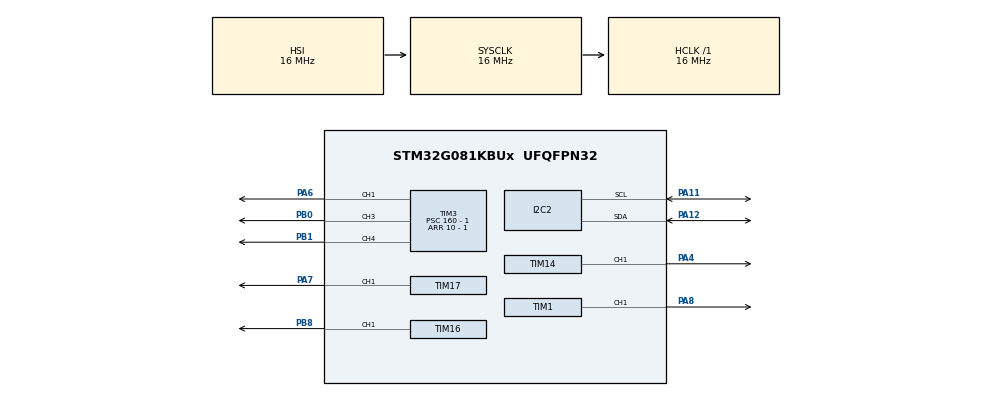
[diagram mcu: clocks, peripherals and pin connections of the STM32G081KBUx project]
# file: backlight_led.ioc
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Mcu.Family=STM32G0
Mcu.Name=STM32G081KBUx
Mcu.Package=UFQFPN32
NVIC.I2C2_IRQn=true\:0\:0\:false\:false\:true\:true\:true\:true
NVIC.TIM14_IRQn=true\:0\:0\:false\:false\:true\:true\:true\:true
NVIC.TIM16_IRQn=true\:0\:0\:false\:false\:true\:true\:true\:true
NVIC.TIM17_IRQn=true\:0\:0\:false\:false\:true\:true\:true\:true
NVIC.TIM1_BRK_UP_TRG_COM_IRQn=true\:0\:0\:false\:false\:true\:true\:true\:true
NVIC.TIM1_CC_IRQn=true\:0\:0\:false\:false\:true\:true\:true\:true
NVIC.TIM3_IRQn=true\:0\:0\:false\:false\:true\:true\:true\:true
PA11\ [PA9].Mode=I2C
PA11\ [PA9].Signal=I2C2_SCL
PA12\ [PA10].Mode=I2C
PA12\ [PA10].Signal=I2C2_SDA
PA4.Signal=S_TIM14_CH1
PA6.Signal=S_TIM3_CH1
PA7.Signal=S_TIM17_CH1
PA8.Signal=S_TIM1_CH1
PB0.Signal=S_TIM3_CH3
PB1.Signal=S_TIM3_CH4
PB8.Signal=S_TIM16_CH1
ProjectManager.HeapSize=0x200
ProjectManager.StackSize=0x400
ProjectManager.TargetToolchain=STM32CubeIDE
RCC.AHBFreq_Value=16000000
RCC.CortexFreq_Value=16000000
RCC.EXTERNAL_CLOCK_VALUE=48000
RCC.HCLKFreq_Value=16000000
RCC.HSE_VALUE=8000000
RCC.HSI_VALUE=16000000
RCC.LSE_VALUE=32768
RCC.SYSCLKFreq_VALUE=16000000
RCC.VCOOutputFreq_Value=128000000
SH.S_TIM14_CH1.0=TIM14_CH1,PWM Generation1 CH1
SH.S_TIM16_CH1.0=TIM16_CH1,PWM Generation1 CH1
SH.S_TIM17_CH1.0=TIM17_CH1,PWM Generation1 CH1
SH.S_TIM1_CH1.0=TIM1_CH1,PWM Generation1 CH1
SH.S_TIM3_CH1.0=TIM3_CH1,PWM Generation1 CH1
SH.S_TIM3_CH3.0=TIM3_CH3,PWM Generation3 CH3
SH.S_TIM3_CH4.0=TIM3_CH4,PWM Generation4 CH4
TIM1.Channel-PWM\ Generation1\ CH1=TIM_CHANNEL_1
TIM1.Period=10 -1
TIM1.Prescaler=160 - 1
TIM1.Pulse-PWM\ Generation1\ CH1=6
TIM14.Channel=TIM_CHANNEL_1
TIM14.Period=10 - 1
TIM14.Prescaler=160 - 1
TIM14.Pulse=5
TIM16.Channel=TIM_CHANNEL_1
TIM16.Period=10 - 1
TIM16.Prescaler=160 - 1
TIM16.Pulse=4
TIM17.Channel=TIM_CHANNEL_1
TIM17.Period=10 - 1
TIM17.Prescaler=160 - 1
TIM17.Pulse=3
TIM3.Channel-PWM\ Generation1\ CH1=TIM_CHANNEL_1
TIM3.Channel-PWM\ Generation3\ CH3=TIM_CHANNEL_3
TIM3.Channel-PWM\ Generation4\ CH4=TIM_CHANNEL_4
TIM3.Period=10 - 1
TIM3.Prescaler=160 - 1
TIM3.Pulse-PWM\ Generation1\ CH1=2
TIM3.Pulse-PWM\ Generation3\ CH3=8
TIM3.Pulse-PWM\ Generation4\ CH4=9
VP_TIM14_VS_ClockSourceINT.Mode=Enable_Timer
VP_TIM16_VS_ClockSourceINT.Mode=Enable_Timer
VP_TIM17_VS_ClockSourceINT.Mode=Enable_Timer
VP_TIM3_VS_ClockSourceINT.Mode=Internal
board=custom

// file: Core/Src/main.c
/* USER CODE BEGIN Header */
/**
  ******************************************************************************
  * @file           : main.c
  * @brief          : Main program body
  ******************************************************************************
  * @attention
  *
  * Copyright (c) 2023 STMicroelectronics.
  * All rights reserved.
  *
  * This software is licensed under terms that can be found in the LICENSE file
  * in the root directory of this software component.
  * If no LICENSE file comes with this software, it is provided AS-IS.
  *
  ******************************************************************************
  */
/* USER CODE END Header */
#include "main.h"

I2C_HandleTypeDef hi2c2;

TIM_HandleTypeDef htim1;
TIM_HandleTypeDef htim3;
TIM_HandleTypeDef htim14;
TIM_HandleTypeDef htim16;
TIM_HandleTypeDef htim17;

/* USER CODE BEGIN PV */
uint8_t rxData;
uint8_t lower;
uint8_t upper;
uint8_t lower_0;
uint8_t upper_0;

uint8_t ID = 0x87; // register addr
uint8_t ID4 = 0x85; // register addr
uint8_t reg = 0x80;
uint8_t reg2 = 0x85;
uint8_t status_reg;
uint8_t command1 = 0x01;
uint8_t command2 = 0x12;
uint16_t data_0;
uint16_t data_1;

#define U4_ADDRESS 0x41 // INA3221
#define U2_ADDRESS 0x44 // INA219BID
#define U1_ADDRESS 0x40 // INA3221
#define U3_ADDRESS 0x45 // ISL28022
#define ADDRESS 0x29 // LTR

/* USER CODE END PV */

void SystemClock_Config(void);
static void MX_GPIO_Init(void);
static void MX_TIM1_Init(void);
static void MX_TIM3_Init(void);
static void MX_TIM14_Init(void);
static void MX_TIM16_Init(void);
static void MX_TIM17_Init(void);
static void MX_I2C2_Init(void);

/* USER CODE BEGIN 0 */
void ltr_read()
{
	//Configuring operation modes
	HAL_I2C_Mem_Write(&hi2c2, ADDRESS << 1, reg, 1, &command1, 1, HAL_MAX_DELAY);
	HAL_I2C_Mem_Write(&hi2c2, ADDRESS << 1, reg2, 1, &command2, 1, HAL_MAX_DELAY);

	//CH1
	HAL_I2C_Mem_Read(&hi2c2, ADDRESS << 1, 0x88, 1, &lower, 1, HAL_MAX_DELAY);
	HAL_I2C_Mem_Read(&hi2c2, ADDRESS << 1, 0x89, 1, &upper, 1, HAL_MAX_DELAY);

	data_1 = (upper << 8) | lower;

	//CH0
	HAL_I2C_Mem_Read(&hi2c2, ADDRESS << 1, 0x8A, 1, &lower_0, 1, HAL_MAX_DELAY);
	HAL_I2C_Mem_Read(&hi2c2, ADDRESS << 1, 0x8B, 1, &upper_0, 1, HAL_MAX_DELAY);

	data_0 = (upper_0 << 8) | lower_0;

	// Reading status
	HAL_I2C_Mem_Read(&hi2c2, ADDRESS << 1, 0x8C, 1, &status_reg, 1, HAL_MAX_DELAY);

}

/* USER CODE END 0 */

int main(void)
{

  /* MCU Configuration--------------------------------------------------------*/

  /* Reset of all peripherals, Initializes the Flash interface and the Systick. */
  HAL_Init();

  /* Configure the system clock */
  SystemClock_Config();

  /* Initialize all configured peripherals */
  MX_GPIO_Init();
  MX_TIM1_Init();
  MX_TIM3_Init();
  MX_TIM14_Init();
  MX_TIM16_Init();
  MX_TIM17_Init();
  MX_I2C2_Init();

  /* Infinite loop */
  /* USER CODE BEGIN WHILE */
  while (1)
  {
	  	  // LTR Reading Register
		//  HAL_I2C_Master_Transmit(&hi2c2, ADDRESS << 1, &ID4, 1, HAL_MAX_DELAY);
		 // HAL_I2C_Master_Receive(&hi2c2, ADDRESS << 1, &rxData, 1, HAL_MAX_DELAY);

		  ltr_read();

    /* USER CODE END WHILE */

  }
}

void SystemClock_Config(void)
{
  RCC_OscInitTypeDef RCC_OscInitStruct = {0};
  RCC_ClkInitTypeDef RCC_ClkInitStruct = {0};

  /** Configure the main internal regulator output voltage
  */
  HAL_PWREx_ControlVoltageScaling(PWR_REGULATOR_VOLTAGE_SCALE1);

  /** Initializes the RCC Oscillators according to the specified parameters
  * in the RCC_OscInitTypeDef structure.
  */
  RCC_OscInitStruct.OscillatorType = RCC_OSCILLATORTYPE_HSI;
  RCC_OscInitStruct.HSIState = RCC_HSI_ON;
  RCC_OscInitStruct.HSIDiv = RCC_HSI_DIV1;
  RCC_OscInitStruct.HSICalibrationValue = RCC_HSICALIBRATION_DEFAULT;
  RCC_OscInitStruct.PLL.PLLState = RCC_PLL_NONE;
  if (HAL_RCC_OscConfig(&RCC_OscInitStruct) != HAL_OK)
  {
    Error_Handler();
  }

  /** Initializes the CPU, AHB and APB buses clocks
  */
  RCC_ClkInitStruct.ClockType = RCC_CLOCKTYPE_HCLK|RCC_CLOCKTYPE_SYSCLK
                              |RCC_CLOCKTYPE_PCLK1;
  RCC_ClkInitStruct.SYSCLKSource = RCC_SYSCLKSOURCE_HSI;
  RCC_ClkInitStruct.AHBCLKDivider = RCC_SYSCLK_DIV1;
  RCC_ClkInitStruct.APB1CLKDivider = RCC_HCLK_DIV1;

  if (HAL_RCC_ClockConfig(&RCC_ClkInitStruct, FLASH_LATENCY_0) != HAL_OK)
  {
    Error_Handler();
  }
}

static void MX_I2C2_Init(void)
{

  hi2c2.Instance = I2C2;
  hi2c2.Init.Timing = 0x00303D5B;
  hi2c2.Init.OwnAddress1 = 0;
  hi2c2.Init.AddressingMode = I2C_ADDRESSINGMODE_7BIT;
  hi2c2.Init.DualAddressMode = I2C_DUALADDRESS_DISABLE;
  hi2c2.Init.OwnAddress2 = 0;
  hi2c2.Init.OwnAddress2Masks = I2C_OA2_NOMASK;
  hi2c2.Init.GeneralCallMode = I2C_GENERALCALL_DISABLE;
  hi2c2.Init.NoStretchMode = I2C_NOSTRETCH_DISABLE;
  if (HAL_I2C_Init(&hi2c2) != HAL_OK)
  {
    Error_Handler();
  }

  /** Configure Analogue filter
  */
  if (HAL_I2CEx_ConfigAnalogFilter(&hi2c2, I2C_ANALOGFILTER_ENABLE) != HAL_OK)
  {
    Error_Handler();
  }

  /** Configure Digital filter
  */
  if (HAL_I2CEx_ConfigDigitalFilter(&hi2c2, 0) != HAL_OK)
  {
    Error_Handler();
  }

}

static void MX_TIM1_Init(void)
{

  TIM_MasterConfigTypeDef sMasterConfig = {0};
  TIM_OC_InitTypeDef sConfigOC = {0};
  TIM_BreakDeadTimeConfigTypeDef sBreakDeadTimeConfig = {0};

  htim1.Instance = TIM1;
  htim1.Init.Prescaler = 160 - 1;
  htim1.Init.CounterMode = TIM_COUNTERMODE_UP;
  htim1.Init.Period = 10 -1;
  htim1.Init.ClockDivision = TIM_CLOCKDIVISION_DIV1;
  htim1.Init.RepetitionCounter = 0;
  htim1.Init.AutoReloadPreload = TIM_AUTORELOAD_PRELOAD_DISABLE;
  if (HAL_TIM_PWM_Init(&htim1) != HAL_OK)
  {
    Error_Handler();
  }
  sMasterConfig.MasterOutputTrigger = TIM_TRGO_RESET;
  sMasterConfig.MasterOutputTrigger2 = TIM_TRGO2_RESET;
  sMasterConfig.MasterSlaveMode = TIM_MASTERSLAVEMODE_DISABLE;
  if (HAL_TIMEx_MasterConfigSynchronization(&htim1, &sMasterConfig) != HAL_OK)
  {
    Error_Handler();
  }
  sConfigOC.OCMode = TIM_OCMODE_PWM1;
  sConfigOC.Pulse = 6;
  sConfigOC.OCPolarity = TIM_OCPOLARITY_HIGH;
  sConfigOC.OCNPolarity = TIM_OCNPOLARITY_HIGH;
  sConfigOC.OCFastMode = TIM_OCFAST_DISABLE;
  sConfigOC.OCIdleState = TIM_OCIDLESTATE_RESET;
  sConfigOC.OCNIdleState = TIM_OCNIDLESTATE_RESET;
  if (HAL_TIM_PWM_ConfigChannel(&htim1, &sConfigOC, TIM_CHANNEL_1) != HAL_OK)
  {
    Error_Handler();
  }
  sBreakDeadTimeConfig.OffStateRunMode = TIM_OSSR_DISABLE;
  sBreakDeadTimeConfig.OffStateIDLEMode = TIM_OSSI_DISABLE;
  sBreakDeadTimeConfig.LockLevel = TIM_LOCKLEVEL_OFF;
  sBreakDeadTimeConfig.DeadTime = 0;
  sBreakDeadTimeConfig.BreakState = TIM_BREAK_DISABLE;
  sBreakDeadTimeConfig.BreakPolarity = TIM_BREAKPOLARITY_HIGH;
  sBreakDeadTimeConfig.BreakFilter = 0;
  sBreakDeadTimeConfig.BreakAFMode = TIM_BREAK_AFMODE_INPUT;
  sBreakDeadTimeConfig.Break2State = TIM_BREAK2_DISABLE;
  sBreakDeadTimeConfig.Break2Polarity = TIM_BREAK2POLARITY_HIGH;
  sBreakDeadTimeConfig.Break2Filter = 0;
  sBreakDeadTimeConfig.Break2AFMode = TIM_BREAK_AFMODE_INPUT;
  sBreakDeadTimeConfig.AutomaticOutput = TIM_AUTOMATICOUTPUT_DISABLE;
  if (HAL_TIMEx_ConfigBreakDeadTime(&htim1, &sBreakDeadTimeConfig) != HAL_OK)
  {
    Error_Handler();
  }
  HAL_TIM_MspPostInit(&htim1);

}

static void MX_TIM3_Init(void)
{

  TIM_ClockConfigTypeDef sClockSourceConfig = {0};
  TIM_MasterConfigTypeDef sMasterConfig = {0};
  TIM_OC_InitTypeDef sConfigOC = {0};

  htim3.Instance = TIM3;
  htim3.Init.Prescaler = 160 - 1;
  htim3.Init.CounterMode = TIM_COUNTERMODE_UP;
  htim3.Init.Period = 10 - 1;
  htim3.Init.ClockDivision = TIM_CLOCKDIVISION_DIV1;
  htim3.Init.AutoReloadPreload = TIM_AUTORELOAD_PRELOAD_DISABLE;
  if (HAL_TIM_Base_Init(&htim3) != HAL_OK)
  {
    Error_Handler();
  }
  sClockSourceConfig.ClockSource = TIM_CLOCKSOURCE_INTERNAL;
  if (HAL_TIM_ConfigClockSource(&htim3, &sClockSourceConfig) != HAL_OK)
  {
    Error_Handler();
  }
  if (HAL_TIM_PWM_Init(&htim3) != HAL_OK)
  {
    Error_Handler();
  }
  sMasterConfig.MasterOutputTrigger = TIM_TRGO_RESET;
  sMasterConfig.MasterSlaveMode = TIM_MASTERSLAVEMODE_DISABLE;
  if (HAL_TIMEx_MasterConfigSynchronization(&htim3, &sMasterConfig) != HAL_OK)
  {
    Error_Handler();
  }
  sConfigOC.OCMode = TIM_OCMODE_PWM1;
  sConfigOC.Pulse = 2;
  sConfigOC.OCPolarity = TIM_OCPOLARITY_HIGH;
  sConfigOC.OCFastMode = TIM_OCFAST_DISABLE;
  if (HAL_TIM_PWM_ConfigChannel(&htim3, &sConfigOC, TIM_CHANNEL_1) != HAL_OK)
  {
    Error_Handler();
  }
  sConfigOC.Pulse = 8;
  if (HAL_TIM_PWM_ConfigChannel(&htim3, &sConfigOC, TIM_CHANNEL_3) != HAL_OK)
  {
    Error_Handler();
  }
  sConfigOC.Pulse = 9;
  if (HAL_TIM_PWM_ConfigChannel(&htim3, &sConfigOC, TIM_CHANNEL_4) != HAL_OK)
  {
    Error_Handler();
  }
  HAL_TIM_MspPostInit(&htim3);

}

static void MX_TIM14_Init(void)
{

  TIM_OC_InitTypeDef sConfigOC = {0};

  htim14.Instance = TIM14;
  htim14.Init.Prescaler = 160 - 1;
  htim14.Init.CounterMode = TIM_COUNTERMODE_UP;
  htim14.Init.Period = 10 - 1;
  htim14.Init.ClockDivision = TIM_CLOCKDIVISION_DIV1;
  htim14.Init.AutoReloadPreload = TIM_AUTORELOAD_PRELOAD_DISABLE;
  if (HAL_TIM_Base_Init(&htim14) != HAL_OK)
  {
    Error_Handler();
  }
  if (HAL_TIM_PWM_Init(&htim14) != HAL_OK)
  {
    Error_Handler();
  }
  sConfigOC.OCMode = TIM_OCMODE_PWM1;
  sConfigOC.Pulse = 5;
  sConfigOC.OCPolarity = TIM_OCPOLARITY_HIGH;
  sConfigOC.OCFastMode = TIM_OCFAST_DISABLE;
  if (HAL_TIM_PWM_ConfigChannel(&htim14, &sConfigOC, TIM_CHANNEL_1) != HAL_OK)
  {
    Error_Handler();
  }
  HAL_TIM_MspPostInit(&htim14);

}

static void MX_TIM16_Init(void)
{

  TIM_OC_InitTypeDef sConfigOC = {0};
  TIM_BreakDeadTimeConfigTypeDef sBreakDeadTimeConfig = {0};

  htim16.Instance = TIM16;
  htim16.Init.Prescaler = 160 - 1;
  htim16.Init.CounterMode = TIM_COUNTERMODE_UP;
  htim16.Init.Period = 10 - 1;
  htim16.Init.ClockDivision = TIM_CLOCKDIVISION_DIV1;
  htim16.Init.RepetitionCounter = 0;
  htim16.Init.AutoReloadPreload = TIM_AUTORELOAD_PRELOAD_DISABLE;
  if (HAL_TIM_Base_Init(&htim16) != HAL_OK)
  {
    Error_Handler();
  }
  if (HAL_TIM_PWM_Init(&htim16) != HAL_OK)
  {
    Error_Handler();
  }
  sConfigOC.OCMode = TIM_OCMODE_PWM1;
  sConfigOC.Pulse = 4;
  sConfigOC.OCPolarity = TIM_OCPOLARITY_HIGH;
  sConfigOC.OCNPolarity = TIM_OCNPOLARITY_HIGH;
  sConfigOC.OCFastMode = TIM_OCFAST_DISABLE;
  sConfigOC.OCIdleState = TIM_OCIDLESTATE_RESET;
  sConfigOC.OCNIdleState = TIM_OCNIDLESTATE_RESET;
  if (HAL_TIM_PWM_ConfigChannel(&htim16, &sConfigOC, TIM_CHANNEL_1) != HAL_OK)
  {
    Error_Handler();
  }
  sBreakDeadTimeConfig.OffStateRunMode = TIM_OSSR_DISABLE;
  sBreakDeadTimeConfig.OffStateIDLEMode = TIM_OSSI_DISABLE;
  sBreakDeadTimeConfig.LockLevel = TIM_LOCKLEVEL_OFF;
  sBreakDeadTimeConfig.DeadTime = 0;
  sBreakDeadTimeConfig.BreakState = TIM_BREAK_DISABLE;
  sBreakDeadTimeConfig.BreakPolarity = TIM_BREAKPOLARITY_HIGH;
  sBreakDeadTimeConfig.BreakFilter = 0;
  sBreakDeadTimeConfig.AutomaticOutput = TIM_AUTOMATICOUTPUT_DISABLE;
  if (HAL_TIMEx_ConfigBreakDeadTime(&htim16, &sBreakDeadTimeConfig) != HAL_OK)
  {
    Error_Handler();
  }
  HAL_TIM_MspPostInit(&htim16);

}

static void MX_TIM17_Init(void)
{

  TIM_OC_InitTypeDef sConfigOC = {0};
  TIM_BreakDeadTimeConfigTypeDef sBreakDeadTimeConfig = {0};

  htim17.Instance = TIM17;
  htim17.Init.Prescaler = 160 - 1;
  htim17.Init.CounterMode = TIM_COUNTERMODE_UP;
  htim17.Init.Period = 10 - 1;
  htim17.Init.ClockDivision = TIM_CLOCKDIVISION_DIV1;
  htim17.Init.RepetitionCounter = 0;
  htim17.Init.AutoReloadPreload = TIM_AUTORELOAD_PRELOAD_DISABLE;
  if (HAL_TIM_Base_Init(&htim17) != HAL_OK)
  {
    Error_Handler();
  }
  if (HAL_TIM_PWM_Init(&htim17) != HAL_OK)
  {
    Error_Handler();
  }
  sConfigOC.OCMode = TIM_OCMODE_PWM1;
  sConfigOC.Pulse = 3;
  sConfigOC.OCPolarity = TIM_OCPOLARITY_HIGH;
  sConfigOC.OCNPolarity = TIM_OCNPOLARITY_HIGH;
  sConfigOC.OCFastMode = TIM_OCFAST_DISABLE;
  sConfigOC.OCIdleState = TIM_OCIDLESTATE_RESET;
  sConfigOC.OCNIdleState = TIM_OCNIDLESTATE_RESET;
  if (HAL_TIM_PWM_ConfigChannel(&htim17, &sConfigOC, TIM_CHANNEL_1) != HAL_OK)
  {
    Error_Handler();
  }
  sBreakDeadTimeConfig.OffStateRunMode = TIM_OSSR_DISABLE;
  sBreakDeadTimeConfig.OffStateIDLEMode = TIM_OSSI_DISABLE;
  sBreakDeadTimeConfig.LockLevel = TIM_LOCKLEVEL_OFF;
  sBreakDeadTimeConfig.DeadTime = 0;
  sBreakDeadTimeConfig.BreakState = TIM_BREAK_DISABLE;
  sBreakDeadTimeConfig.BreakPolarity = TIM_BREAKPOLARITY_HIGH;
  sBreakDeadTimeConfig.BreakFilter = 0;
  sBreakDeadTimeConfig.AutomaticOutput = TIM_AUTOMATICOUTPUT_DISABLE;
  if (HAL_TIMEx_ConfigBreakDeadTime(&htim17, &sBreakDeadTimeConfig) != HAL_OK)
  {
    Error_Handler();
  }
  HAL_TIM_MspPostInit(&htim17);

}

static void MX_GPIO_Init(void)
{

  /* GPIO Ports Clock Enable */
  __HAL_RCC_GPIOA_CLK_ENABLE();
  __HAL_RCC_GPIOB_CLK_ENABLE();

}

void Error_Handler(void)
{
  __disable_irq();
  while (1)
  {
  }
}
